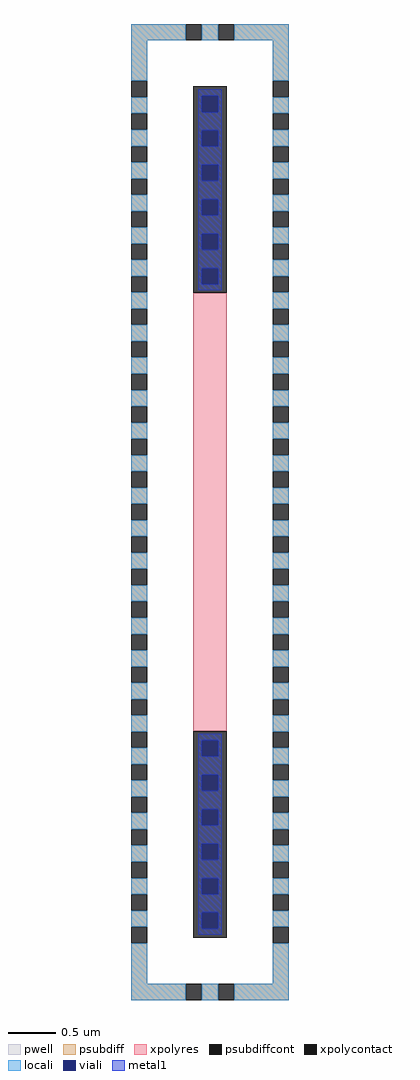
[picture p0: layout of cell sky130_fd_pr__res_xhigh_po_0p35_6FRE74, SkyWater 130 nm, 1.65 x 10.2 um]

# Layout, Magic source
magic
tech sky130A
magscale 1 2
<< pwell >>
rect -165 986 165 1020
rect -165 -986 -131 986
rect 131 -986 165 986
rect -165 -1020 165 -986
<< psubdiff >>
rect -165 986 -51 1020
rect -17 986 17 1020
rect 51 986 165 1020
rect -165 901 -131 986
rect 131 901 165 986
rect -165 833 -131 867
rect -165 765 -131 799
rect -165 697 -131 731
rect -165 629 -131 663
rect -165 561 -131 595
rect -165 493 -131 527
rect -165 425 -131 459
rect -165 357 -131 391
rect -165 289 -131 323
rect -165 221 -131 255
rect -165 153 -131 187
rect -165 85 -131 119
rect -165 17 -131 51
rect -165 -51 -131 -17
rect -165 -119 -131 -85
rect -165 -187 -131 -153
rect -165 -255 -131 -221
rect -165 -323 -131 -289
rect -165 -391 -131 -357
rect -165 -459 -131 -425
rect -165 -527 -131 -493
rect -165 -595 -131 -561
rect -165 -663 -131 -629
rect -165 -731 -131 -697
rect -165 -799 -131 -765
rect -165 -867 -131 -833
rect 131 833 165 867
rect 131 765 165 799
rect 131 697 165 731
rect 131 629 165 663
rect 131 561 165 595
rect 131 493 165 527
rect 131 425 165 459
rect 131 357 165 391
rect 131 289 165 323
rect 131 221 165 255
rect 131 153 165 187
rect 131 85 165 119
rect 131 17 165 51
rect 131 -51 165 -17
rect 131 -119 165 -85
rect 131 -187 165 -153
rect 131 -255 165 -221
rect 131 -323 165 -289
rect 131 -391 165 -357
rect 131 -459 165 -425
rect 131 -527 165 -493
rect 131 -595 165 -561
rect 131 -663 165 -629
rect 131 -731 165 -697
rect 131 -799 165 -765
rect 131 -867 165 -833
rect -165 -986 -131 -901
rect 131 -986 165 -901
rect -165 -1020 -51 -986
rect -17 -1020 17 -986
rect 51 -1020 165 -986
<< psubdiffcont >>
rect -51 986 -17 1020
rect 17 986 51 1020
rect -165 867 -131 901
rect -165 799 -131 833
rect -165 731 -131 765
rect -165 663 -131 697
rect -165 595 -131 629
rect -165 527 -131 561
rect -165 459 -131 493
rect -165 391 -131 425
rect -165 323 -131 357
rect -165 255 -131 289
rect -165 187 -131 221
rect -165 119 -131 153
rect -165 51 -131 85
rect -165 -17 -131 17
rect -165 -85 -131 -51
rect -165 -153 -131 -119
rect -165 -221 -131 -187
rect -165 -289 -131 -255
rect -165 -357 -131 -323
rect -165 -425 -131 -391
rect -165 -493 -131 -459
rect -165 -561 -131 -527
rect -165 -629 -131 -595
rect -165 -697 -131 -663
rect -165 -765 -131 -731
rect -165 -833 -131 -799
rect -165 -901 -131 -867
rect 131 867 165 901
rect 131 799 165 833
rect 131 731 165 765
rect 131 663 165 697
rect 131 595 165 629
rect 131 527 165 561
rect 131 459 165 493
rect 131 391 165 425
rect 131 323 165 357
rect 131 255 165 289
rect 131 187 165 221
rect 131 119 165 153
rect 131 51 165 85
rect 131 -17 165 17
rect 131 -85 165 -51
rect 131 -153 165 -119
rect 131 -221 165 -187
rect 131 -289 165 -255
rect 131 -357 165 -323
rect 131 -425 165 -391
rect 131 -493 165 -459
rect 131 -561 165 -527
rect 131 -629 165 -595
rect 131 -697 165 -663
rect 131 -765 165 -731
rect 131 -833 165 -799
rect 131 -901 165 -867
rect -51 -1020 -17 -986
rect 17 -1020 51 -986
<< xpolycontact >>
rect -35 458 35 890
rect -35 -890 35 -458
<< xpolyres >>
rect -35 -458 35 458
<< locali >>
rect -165 986 -51 1020
rect -17 986 17 1020
rect 51 986 165 1020
rect -165 901 -131 986
rect 131 901 165 986
rect -165 833 -131 867
rect -165 765 -131 799
rect -165 697 -131 731
rect -165 629 -131 663
rect -165 561 -131 595
rect -165 493 -131 527
rect -165 425 -131 459
rect 131 833 165 867
rect 131 765 165 799
rect 131 697 165 731
rect 131 629 165 663
rect 131 561 165 595
rect 131 493 165 527
rect -165 357 -131 391
rect -165 289 -131 323
rect -165 221 -131 255
rect -165 153 -131 187
rect -165 85 -131 119
rect -165 17 -131 51
rect -165 -51 -131 -17
rect -165 -119 -131 -85
rect -165 -187 -131 -153
rect -165 -255 -131 -221
rect -165 -323 -131 -289
rect -165 -391 -131 -357
rect -165 -459 -131 -425
rect 131 425 165 459
rect 131 357 165 391
rect 131 289 165 323
rect 131 221 165 255
rect 131 153 165 187
rect 131 85 165 119
rect 131 17 165 51
rect 131 -51 165 -17
rect 131 -119 165 -85
rect 131 -187 165 -153
rect 131 -255 165 -221
rect 131 -323 165 -289
rect 131 -391 165 -357
rect -165 -527 -131 -493
rect -165 -595 -131 -561
rect -165 -663 -131 -629
rect -165 -731 -131 -697
rect -165 -799 -131 -765
rect -165 -867 -131 -833
rect 131 -459 165 -425
rect 131 -527 165 -493
rect 131 -595 165 -561
rect 131 -663 165 -629
rect 131 -731 165 -697
rect 131 -799 165 -765
rect 131 -867 165 -833
rect -165 -986 -131 -901
rect 131 -986 165 -901
rect -165 -1020 -51 -986
rect -17 -1020 17 -986
rect 51 -1020 165 -986
<< viali >>
rect -17 836 17 870
rect -17 764 17 798
rect -17 692 17 726
rect -17 620 17 654
rect -17 548 17 582
rect -17 476 17 510
rect -17 -511 17 -477
rect -17 -583 17 -549
rect -17 -655 17 -621
rect -17 -727 17 -693
rect -17 -799 17 -765
rect -17 -871 17 -837
<< metal1 >>
rect -25 870 25 884
rect -25 836 -17 870
rect 17 836 25 870
rect -25 798 25 836
rect -25 764 -17 798
rect 17 764 25 798
rect -25 726 25 764
rect -25 692 -17 726
rect 17 692 25 726
rect -25 654 25 692
rect -25 620 -17 654
rect 17 620 25 654
rect -25 582 25 620
rect -25 548 -17 582
rect 17 548 25 582
rect -25 510 25 548
rect -25 476 -17 510
rect 17 476 25 510
rect -25 463 25 476
rect -25 -477 25 -463
rect -25 -511 -17 -477
rect 17 -511 25 -477
rect -25 -549 25 -511
rect -25 -583 -17 -549
rect 17 -583 25 -549
rect -25 -621 25 -583
rect -25 -655 -17 -621
rect 17 -655 25 -621
rect -25 -693 25 -655
rect -25 -727 -17 -693
rect 17 -727 25 -693
rect -25 -765 25 -727
rect -25 -799 -17 -765
rect 17 -799 25 -765
rect -25 -837 25 -799
rect -25 -871 -17 -837
rect 17 -871 25 -837
rect -25 -884 25 -871
<< properties >>
string FIXED_BBOX -148 -1003 148 1003
<< end >>
